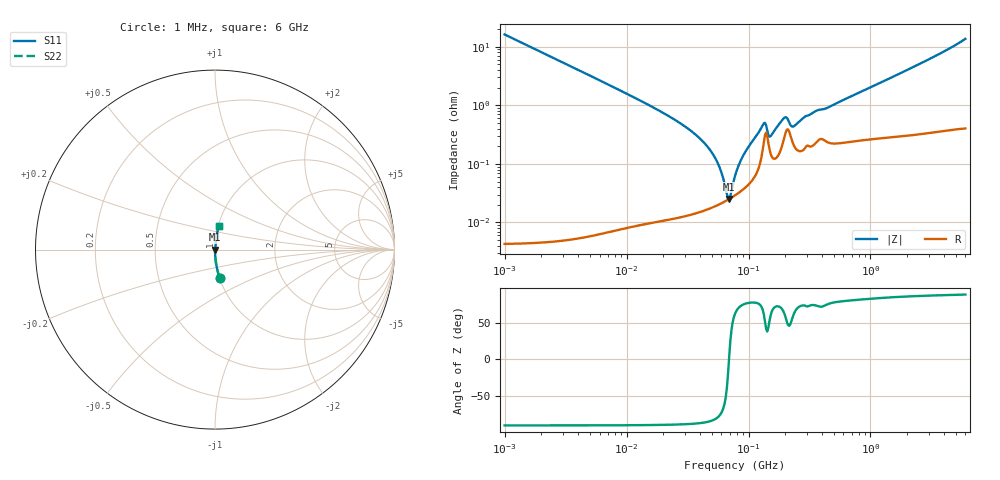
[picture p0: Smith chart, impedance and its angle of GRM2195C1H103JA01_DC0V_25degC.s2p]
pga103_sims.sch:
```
<Qucs Schematic 24.2.1>
<Properties>
  <View=-372,-45,1698,889,1,429,0>
  <Grid=10,10,1>
  <DataSet=pga103_sims.dat>
  <DataDisplay=pga103_sims.dpl>
  <OpenDisplay=0>
  <Script=pga103_sims.m>
  <RunScript=0>
  <showFrame=0>
  <FrameText0=Title>
  <FrameText1=Drawn By:>
  <FrameText2=Date:>
  <FrameText3=Revision:>
</Properties>
<Symbol>
</Symbol>
<Components>
  <.SP SP1 1 200 40 0 68 0 0 "lin" 1 "1 MHz" 1 "1000 MHz" 1 "1001" 1 "no" 0 "1" 0 "2" 0 "no" 0 "no" 0>
  <Pac P1 1 320 340 18 -26 0 1 "1" 1 "50 Ohm" 1 "0 dBm" 0 "1 MHz" 0 "26.85" 0 "true" 0>
  <GND * 1 320 370 0 0 0 0>
  <SPfile PGA103 1 820 310 -26 -40 0 0 "/home/mugundhan/iitk/work/generic_boards/discrete_filter_board/components/PGA-103+_sparams/PGA-103+_5V_Plus25DegC.s2p" 0 "rectangular" 0 "linear" 0 "open" 0 "2" 0>
  <GND * 1 820 340 0 0 0 0>
  <SUBST Subst1 1 620 90 -30 24 0 0 "4.5" 1 "1.6 mm" 1 "35 um" 1 "0.02" 1 "1.7e-6" 1 "0.15e-6" 1>
  <CLIN CL1 1 480 310 -26 28 0 0 "Subst1" 1 "1 mm" 1 "0.25 mm" 1 "2 mm" 1 "Air" 0 "yes" 0>
  <CLIN CL2 1 700 310 -26 28 0 0 "Subst1" 1 "1 mm" 1 "0.25 mm" 1 "2 mm" 1 "Air" 0 "yes" 0>
  <CLIN CL3 1 1070 310 -26 28 0 0 "Subst1" 1 "1 mm" 1 "0.25 mm" 1 "2 mm" 1 "Air" 0 "yes" 0>
  <CLIN CL4 1 1240 310 -26 28 0 0 "Subst1" 1 "1 mm" 1 "0.25 mm" 1 "2 mm" 1 "Air" 0 "yes" 0>
  <SPfile RBP188 1 1340 310 -26 -40 0 0 "/home/mugundhan/iitk/work/generic_boards/discrete_filter_board/components/RBP-188+/RBP-188+_Plus25degC.s2p" 0 "rectangular" 0 "linear" 0 "open" 0 "2" 0>
  <GND * 1 1340 330 0 0 0 0>
  <CLIN CL5 1 1400 310 -26 28 0 0 "Subst1" 1 "1 mm" 1 "0.25 mm" 1 "2 mm" 1 "Air" 0 "yes" 0>
  <GND * 1 1520 390 0 0 0 0>
  <SPfile L 1 870 380 -29 -26 0 1 "/home/mugundhan/iitk/work/generic_boards/discrete_filter_board/components/0805CS_Sparameters/0805CS-101.s2p" 0 "rectangular" 0 "linear" 0 "open" 0 "2" 0>
  <C C3 1 910 450 -26 17 0 0 "0.1 uF" 1 "" 0 "neutral" 0>
  <GND * 1 940 450 0 0 0 1>
  <C C4 1 910 520 -26 17 0 0 "10 uF" 1 "" 0 "neutral" 0>
  <GND * 1 940 520 0 0 0 1>
  <Pac P2 1 1520 350 18 -26 0 1 "2" 1 "50 Ohm" 1 "0 dBm" 0 "1 MHz" 0 "26.85" 0 "true" 0>
  <Pac P3 1 870 600 18 -26 0 1 "3" 1 "50 Ohm" 1 "0 dBm" 0 "1 MHz" 0 "26.85" 0 "true" 0>
  <GND * 1 870 630 0 0 0 0>
  <Eqn Eqn1 1 440 60 -34 16 0 0 "dBS11=dB(S[1,1])" 1 "dBS31=dB(S[3,1])" 1 "dBS32=dB(S[3,2])" 1 "dBS33=dB(S[3,3])" 1 "dBS23=dB(S[2,3])" 1 "dBS13=dB(S[1,3])" 1 "dBS21=dB(S[2,1])" 1 "dBS22=dB(S[2,2])" 1 "dBS12=dB(S[1,2])" 1 "yes" 0>
  <GND * 1 900 380 0 0 0 1>
  <SPfile C1 1 590 310 -26 -40 0 0 "/home/mugundhan/iitk/work/generic_boards/discrete_filter_board/components/GRM2195C1H103JA01_DC0V_25degC.s2p" 0 "rectangular" 0 "linear" 0 "open" 0 "2" 0>
  <GND * 1 590 340 0 0 0 0>
  <SPfile C5 1 1150 310 -26 -40 0 0 "/home/mugundhan/iitk/work/generic_boards/discrete_filter_board/components/GRM2195C1H103JA01_DC0V_25degC.s2p" 0 "rectangular" 0 "linear" 0 "open" 0 "2" 0>
  <GND * 1 1150 340 0 0 0 0>
</Components>
<Wires>
  <850 310 870 310 "" 0 0 0 "">
  <870 310 870 350 "" 0 0 0 "">
  <510 310 560 310 "" 0 0 0 "">
  <320 310 450 310 "" 0 0 0 "">
  <730 310 790 310 "" 0 0 0 "">
  <620 310 670 310 "" 0 0 0 "">
  <870 310 1040 310 "" 0 0 0 "">
  <1180 310 1210 310 "" 0 0 0 "">
  <1100 310 1120 310 "" 0 0 0 "">
  <1340 330 1340 340 "" 0 0 0 "">
  <1270 310 1310 310 "" 0 0 0 "">
  <870 520 870 570 "" 0 0 0 "">
  <870 450 870 520 "" 0 0 0 "">
  <870 450 880 450 "" 0 0 0 "">
  <870 520 880 520 "" 0 0 0 "">
  <870 410 870 450 "" 0 0 0 "">
  <1520 380 1520 390 "" 0 0 0 "">
  <1430 310 1520 310 "" 0 0 0 "">
  <1520 310 1520 320 "" 0 0 0 "">
</Wires>
<Diagrams>
</Diagrams>
<Paintings>
</Paintings>
```
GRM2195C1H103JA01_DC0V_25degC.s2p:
!Murata Part Number: GRM2195C1H103JA01
!These Parameters are Measured in Series Mode Connection
!  o--ll--o
!Port1  Port2
!  o------o
!Operation Temp=25[degC], DC Bias Voltage=0[V]
!Freq. Start=1[MHz] Stop=6[GHz], 401[Steps]
!Data Generated on Jan 10, 2017
# Hz S RI R 50
!Freq.(Hz) S11(Real) S11(Imag) S21(Real) S21(Imag) S12(Real) S12(Imag) S22(Real) S22(Imag)
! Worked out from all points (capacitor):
!   401 points, 1 MHz to 6 GHz, reference 50 ohm
!   read as one part in series: C = 9.85 nF near 1.044 MHz
!   lowest |Z| = 25.2 mohm at 69.48 MHz (marker M1)
!   series resonance near 69.18 MHz, so ESL is about 540 pH
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1000000  0.0255 -0.1575  0.9745 0.1575  0.9745 0.1575  0.0255 -0.1575
3.107204e7  0.000147 -0.00415  0.9999 0.00415  0.9999 0.00415  0.000147 -0.00415
5.124051e7  0.000184 -0.00144  0.9998 0.00144  0.9998 0.00144  0.000184 -0.00144
6.947823e7  0.000251 2.08e-05  0.9997 -2.08e-05  0.9997 -2.08e-05  0.000251 2.08e-05
7.745967e7  0.00029 0.000546  0.9997 -0.000546  0.9997 -0.000546  0.00029 0.000546
9.218041e7  0.000381 0.00144  0.9996 -0.00144  0.9996 -0.00144  0.000381 0.00144
1.334167e8  0.00234 0.00429  0.9977 -0.00429  0.9977 -0.00429  0.00234 0.00429
1.520136e8  0.00148 0.00259  0.9985 -0.00259  0.9985 -0.00259  0.00148 0.00259
1.973453e8  0.00294 0.00539  0.9971 -0.00539  0.9971 -0.00539  0.00294 0.00539
2.348496e8  0.00209 0.00383  0.9979 -0.00383  0.9979 -0.00383  0.00209 0.00383
6e9  0.022 0.1327  0.978 -0.1327  0.978 -0.1327  0.022 0.1327
